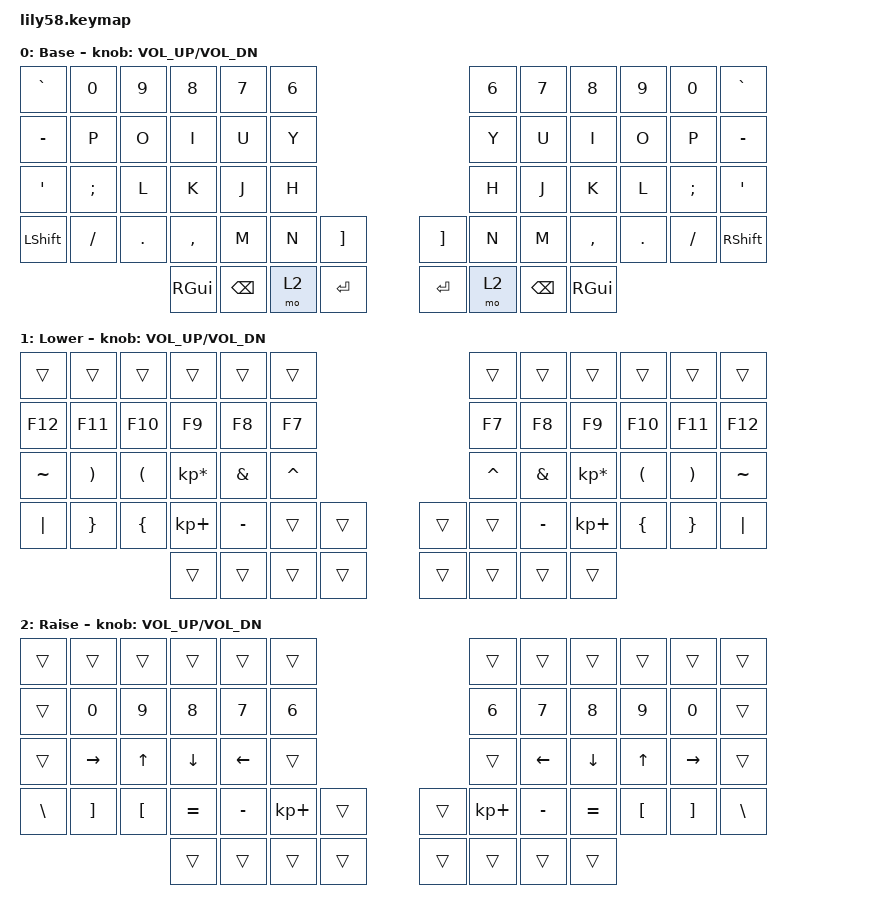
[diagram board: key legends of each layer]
/*
 * Copyright (c) 2020 The ZMK Contributors
 *
 * SPDX-License-Identifier: MIT
 */

#include <behaviors.dtsi>
#include <dt-bindings/zmk/keys.h>

/ {
    keymap {
        compatible = "zmk,keymap";

        default_layer {
            // ------------------------------------------------------------------------------------------------------------
            // |  ESC  |  1  |  2  |  3   |  4   |  5   |                   |  6   |  7    |  8    |  9   |   0   |   `   |
            // |  TAB  |  Q  |  W  |  E   |  R   |  T   |                   |  Y   |  U    |  I    |  O   |   P   |   -   |
            // |  CTRL |  A  |  S  |  D   |  F   |  G   |                   |  H   |  J    |  K    |  L   |   ;   |   '   |
            // | SHIFT |  Z  |  X  |  C   |  V   |  B   |   "["  |  |  "]"  |  N   |  M    |  ,    |  .   |   /   | SHIFT |
            //                     | ALT  | GUI  | LOWER|  SPACE |  | ENTER | RAISE| BSPC  | GUI   |

            display-name = "Base";
            bindings = <
&kp GRAVE  &kp N0         &kp N9      &kp N8         &kp N7    &kp NUMBER_6                                 &kp N6  &kp N7    &kp N8     &kp N9   &kp N0    &kp GRAVE
&kp MINUS  &kp P          &kp O       &kp I          &kp U     &kp Y                                        &kp Y   &kp U     &kp I      &kp O    &kp P     &kp MINUS
&kp SQT    &kp SEMICOLON  &kp L       &kp K          &kp J     &kp H                                        &kp H   &kp J     &kp K      &kp L    &kp SEMI  &kp SQT
&kp LSHFT  &kp SLASH      &kp PERIOD  &kp COMMA      &kp M     &kp N         &kp RIGHT_BRACKET    &kp RBKT  &kp N   &kp M     &kp COMMA  &kp DOT  &kp FSLH  &kp RSHFT
                                      &kp RIGHT_GUI  &kp BSPC  &mo 2         &kp RET              &kp RET   &mo 2   &kp BSPC  &kp RGUI
            >;

            sensor-bindings = <&inc_dec_kp C_VOL_UP C_VOL_DN>;
        };

        lower_layer {
            // ------------------------------------------------------------------------------------------------------------
            // | BTCLR | BT1 | BT2 |  BT3 |  BT4 |  BT5 |                   |      |       |       |      |       |       |
            // |  F1   |  F2 |  F3 |  F4  |  F5  |  F6  |                   |  F7  |  F8   |  F9   |  F10 |  F11  |  F12  |
            // |   `   |  !  |  @  |  #   |  $   |  %   |                   |  ^   |  &    |  *    |  (   |   )   |   ~   |
            // |       |     |     |      |      |      |        |  |       |      |  _    |  +    |  {   |   }   |  "|"  |
            //                     |      |      |      |        |  |       |      |       |       |

            display-name = "Lower";
            bindings = <
&trans     &trans    &trans    &trans           &trans     &trans                       &trans     &trans     &trans           &trans    &trans    &trans
&kp F12    &kp F11   &kp F10   &kp F9           &kp F8     &kp F7                       &kp F7     &kp F8     &kp F9           &kp F10   &kp F11   &kp F12
&kp TILDE  &kp RPAR  &kp LPAR  &kp KP_MULTIPLY  &kp AMPS   &kp CARET                    &kp CARET  &kp AMPS   &kp KP_MULTIPLY  &kp LPAR  &kp RPAR  &kp TILDE
&kp PIPE   &kp RBRC  &kp LBRC  &kp KP_PLUS      &kp MINUS  &trans     &trans    &trans  &trans     &kp MINUS  &kp KP_PLUS      &kp LBRC  &kp RBRC  &kp PIPE
                               &trans           &trans     &trans     &trans    &trans  &trans     &trans     &trans
            >;

            sensor-bindings = <&inc_dec_kp C_VOL_UP C_VOL_DN>;
        };

        raise_layer {
            // ------------------------------------------------------------------------------------------------------------
            // |       |     |     |      |      |      |                   |      |       |       |      |       |       |
            // |   `   |  1  |  2  |  3   |  4   |  5   |                   |  6   |   7   |   8   |  9   |   0   |       |
            // |   F1  |  F2 |  F3 |  F4  |  F5  |  F6  |                   |      |   <-  |   v   |  ^   |  ->   |       |
            // |   F7  |  F8 |  F9 |  F10 |  F11 |  F12 |        |  |       |  +   |   -   |   =   |  [   |   ]   |   \   |
            //                     |      |      |      |        |  |       |      |       |       |

            display-name = "Raise";
            bindings = <
&trans    &trans     &trans        &trans     &trans     &trans                         &trans       &trans     &trans     &trans    &trans     &trans
&trans    &kp N0     &kp N9        &kp N8     &kp N7     &kp N6                         &kp N6       &kp N7     &kp N8     &kp N9    &kp N0     &trans
&trans    &kp RIGHT  &kp UP_ARROW  &kp DOWN   &kp LEFT   &trans                         &trans       &kp LEFT   &kp DOWN   &kp UP    &kp RIGHT  &trans
&kp BSLH  &kp RBKT   &kp LBKT      &kp EQUAL  &kp MINUS  &kp KP_PLUS  &trans    &trans  &kp KP_PLUS  &kp MINUS  &kp EQUAL  &kp LBKT  &kp RBKT   &kp BSLH
                                   &trans     &trans     &trans       &trans    &trans  &trans       &trans     &trans
            >;

            sensor-bindings = <&inc_dec_kp C_VOL_UP C_VOL_DN>;
        };

        extra_1 { status = "reserved"; };

        extra_2 { status = "reserved"; };

        extra_3 { status = "reserved"; };
    };
};
